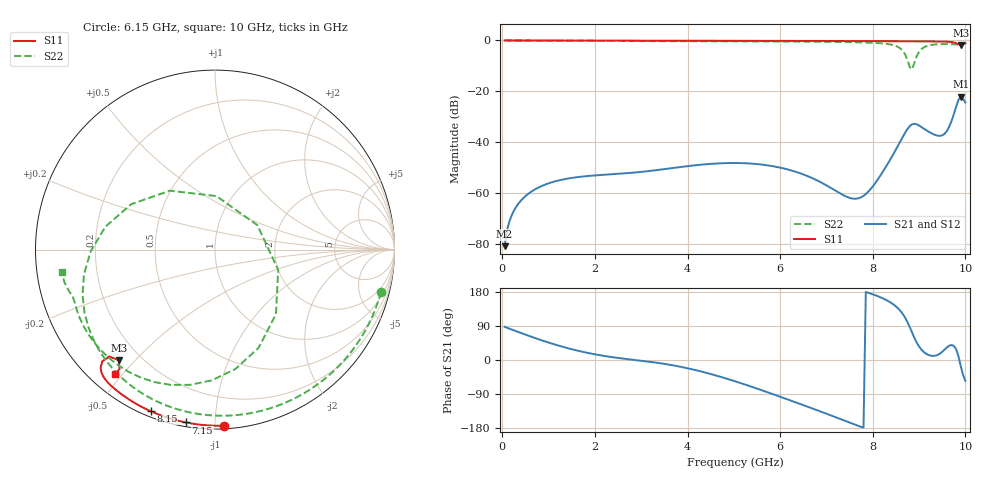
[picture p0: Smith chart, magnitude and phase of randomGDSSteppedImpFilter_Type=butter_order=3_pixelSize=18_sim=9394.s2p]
! freq	dB(S11)	phase(S11)	dB(S12)	phase(S12)
!  dB(S21)	phase(S21)	dB(S22)	phase(S22)
!S-par simulation data
#  GHz  S  DB  R 50
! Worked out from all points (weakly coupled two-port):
!   200 points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, 50 MHz to 10 GHz, reference 50 ohm
!   highest |S21| = -22.13 dB at 9.9 GHz (marker M1); lowest = -80.7 dB at 50 MHz (marker M2)
!   lowest |S11| = -1.8 dB at 9.9 GHz (marker M3), VSWR 9.95, Z = 6.05 - j22.5 ohm
!   |S11| at or under -10 dB: nowhere
!   |S22| runs from -11.3 to 0.0 dB; largest |S21 - S12| = 0
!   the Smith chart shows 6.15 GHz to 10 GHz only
!   S11 on the Smith chart (normalised r, x): 6.15 GHz: 0.02, -1.05; 7.15 GHz: 0.02, -0.85; 8.15 GHz: 0.02, -0.68; 10 GHz: 0.07, -0.48
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0.05  -0.00 -0.8  -80.74 87.6  -80.74 87.6  -0.00 -4.0
0.2  -0.00 -3.1  -68.75 80.5  -68.75 80.5  -0.02 -15.7
0.5  -0.01 -7.6  -61.10 66.9  -61.10 66.9  -0.05 -38.7
1.1  -0.02 -16.7  -55.50 42.2  -55.50 42.2  -0.10 -82.0
1.75  -0.03 -26.4  -53.37 21.2  -53.37 21.2  -0.13 -123.8
2.55  -0.05 -38.2  -52.30 4.6  -52.30 4.6  -0.16 -169.7
3.4  -0.07 -50.4  -50.74 -8.4  -50.74 -8.4  -0.20 144.1
4.25  -0.09 -62.2  -48.83 -28.9  -48.83 -28.9  -0.25 96.8
5.05  -0.11 -72.9  -48.10 -57.1  -48.10 -57.1  -0.30 50.1
6.15  -0.15 -87.1  -50.56 -103.5  -50.56 -103.5  -0.41 -14.2
6.7  -0.18 -94.0  -54.08 -128.1  -54.08 -128.1  -0.48 -44.7
7.15  -0.21 -99.6  -58.47 -148.8  -58.47 -148.8  -0.56 -68.7
7.7  -0.24 -106.3  -61.89 -174.4  -61.89 -174.4  -0.74 -98.2
8.15  -0.27 -111.7  -53.43 166.3  -53.43 166.3  -1.08 -126.2
8.35  -0.29 -114.1  -47.58 154.3  -47.58 154.3  -1.47 -143.1
8.6  -0.31 -117.1  -39.47 129.2  -39.47 129.2  -3.19 -179.2
8.75  -0.32 -119.0  -34.73 99.8  -34.73 99.8  -7.67 127.5
8.9  -0.34 -120.8  -32.72 58.1  -32.72 58.1  -8.65 -17.7
9.15  -0.37 -124.0  -35.17 16.7  -35.17 16.7  -2.31 -100.5
9.55  -0.46 -129.7  -36.63 27.3  -36.63 27.3  -1.42 -142.4
9.9  -1.75 -131.0  -22.13 -16.4  -22.13 -16.4  -1.45 -164.3
10  -1.04 -128.8  -24.37 -55.0  -24.37 -55.0  -1.29 -171.7
